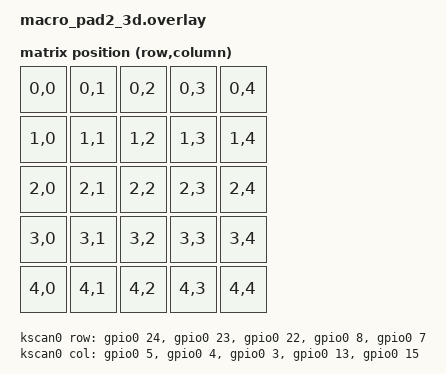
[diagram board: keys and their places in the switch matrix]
/*
 * Copyright (c) 2024 The ZMK Contributors
 *
 * SPDX-License-Identifier: MIT
 */

#include <dt-bindings/zmk/matrix_transform.h>

/ {
    chosen {
        zmk,kscan = &kscan0;
        zmk,matrix-transform = &default_transform;
    };

    default_transform: keymap_transform_0 {
        compatible = "zmk,matrix-transform";
        columns = <5>;
        rows = <5>;
        map = <
            RC(0,0) RC(0,1) RC(0,2) RC(0,3) RC(0,4)
            RC(1,0) RC(1,1) RC(1,2) RC(1,3) RC(1,4)
            RC(2,0) RC(2,1) RC(2,2) RC(2,3) RC(2,4)
            RC(3,0) RC(3,1) RC(3,2) RC(3,3) RC(3,4)
            RC(4,0) RC(4,1) RC(4,2) RC(4,3) RC(4,4)
        >;
    };

    kscan0: kscan {
        compatible = "zmk,kscan-gpio-matrix";

        diode-direction = "col2row";
        row-gpios
            = <&gpio0 24 (GPIO_ACTIVE_HIGH | GPIO_PULL_DOWN)>
            , <&gpio0 23 (GPIO_ACTIVE_HIGH | GPIO_PULL_DOWN)>
            , <&gpio0 22 (GPIO_ACTIVE_HIGH | GPIO_PULL_DOWN)>
            , <&gpio0 8 (GPIO_ACTIVE_HIGH | GPIO_PULL_DOWN)>
            , <&gpio0 7 (GPIO_ACTIVE_HIGH | GPIO_PULL_DOWN)>
            ;
        col-gpios
            = <&gpio0 5 GPIO_ACTIVE_HIGH>
            , <&gpio0 4 GPIO_ACTIVE_HIGH>
            , <&gpio0 3 GPIO_ACTIVE_HIGH>
            , <&gpio0 13 GPIO_ACTIVE_HIGH>
            , <&gpio0 15 GPIO_ACTIVE_HIGH>
            ;
    };

    leds {
        status = "okay";
        compatible = "gpio-leds";
		led0: led_0 {
			gpios = <&gpio0 25 GPIO_ACTIVE_LOW>;
			label = "Red LED 0";
		};
		led1: led_1 {
			gpios = <&gpio0 26 GPIO_ACTIVE_LOW>;
			label = "Red LED 1";
		};
    };
    
	aliases {
		indicator-led = &led0;
    };
};
